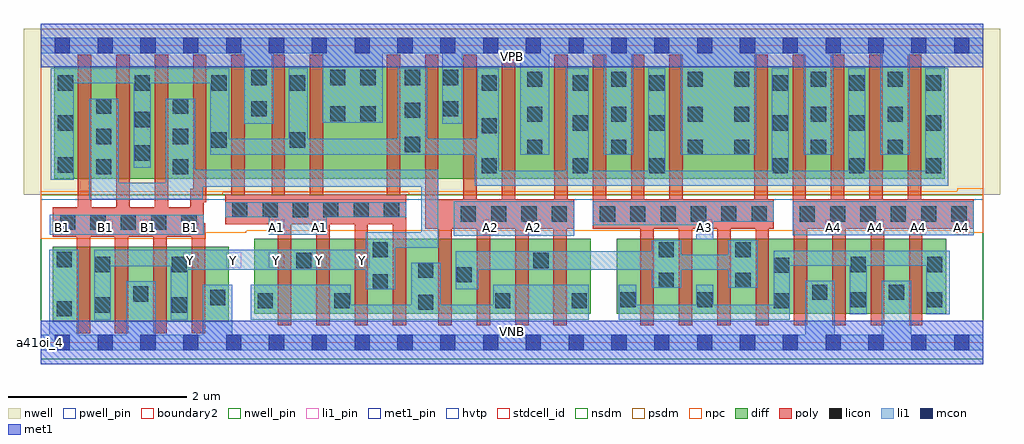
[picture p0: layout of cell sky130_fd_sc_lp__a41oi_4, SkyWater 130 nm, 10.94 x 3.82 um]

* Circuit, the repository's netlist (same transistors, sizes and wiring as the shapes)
* Copyright 2020 The SkyWater PDK Authors
*
* Licensed under the Apache License, Version 2.0 (the "License");
* you may not use this file except in compliance with the License.
* You may obtain a copy of the License at
*
*     https://www.apache.org/licenses/LICENSE-2.0
*
* Unless required by applicable law or agreed to in writing, software
* distributed under the License is distributed on an "AS IS" BASIS,
* WITHOUT WARRANTIES OR CONDITIONS OF ANY KIND, either express or implied.
* See the License for the specific language governing permissions and
* limitations under the License.
*
* SPDX-License-Identifier: Apache-2.0

.SUBCKT sky130_fd_sc_lp__a41oi_4 A1 A2 A3 A4 B1 VGND VNB VPB VPWR Y
*.PININFO A1:I A2:I A3:I A4:I B1:I VGND:I VNB:I VPB:I VPWR:I Y:O
MMPA0 pndA A1 VPWR VPB sky130_fd_pr__pfet_01v8_hvt m=4 w=1.26U l=0.15U mult=1 sa=0.265
+ sb=0.265 sd=0.28 area=0.063 perim=1.14
MMPA1 pndA A2 VPWR VPB sky130_fd_pr__pfet_01v8_hvt m=4 w=1.26U l=0.15U mult=1 sa=0.265
+ sb=0.265 sd=0.28 area=0.063 perim=1.14
MMPA2 pndA A3 VPWR VPB sky130_fd_pr__pfet_01v8_hvt m=4 w=1.26U l=0.15U mult=1 sa=0.265
+ sb=0.265 sd=0.28 area=0.063 perim=1.14
MMPA3 pndA A4 VPWR VPB sky130_fd_pr__pfet_01v8_hvt m=4 w=1.26U l=0.15U mult=1 sa=0.265
+ sb=0.265 sd=0.28 area=0.063 perim=1.14
MMPB0 Y B1 pndA VPB sky130_fd_pr__pfet_01v8_hvt m=4 w=1.26U l=0.15U mult=1 sa=0.265
+ sb=0.265 sd=0.28 area=0.063 perim=1.14
MMNA0 Y A1 sndA1 VNB sky130_fd_pr__nfet_01v8 m=4 w=0.84U l=0.15U mult=1 sa=0.265
+ sb=0.265 sd=0.28 area=0.063 perim=1.14
MMNA1 sndA1 A2 sndA2 VNB sky130_fd_pr__nfet_01v8 m=4 w=0.84U l=0.15U mult=1 sa=0.265
+ sb=0.265 sd=0.28 area=0.063 perim=1.14
MMNA2 sndA2 A3 sndA3 VNB sky130_fd_pr__nfet_01v8 m=4 w=0.84U l=0.15U mult=1 sa=0.265
+ sb=0.265 sd=0.28 area=0.063 perim=1.14
MMNA3 sndA3 A4 VGND VNB sky130_fd_pr__nfet_01v8 m=4 w=0.84U l=0.15U mult=1 sa=0.265
+ sb=0.265 sd=0.28 area=0.063 perim=1.14
MMNB0 Y B1 VGND VNB sky130_fd_pr__nfet_01v8 m=4 w=0.84U l=0.15U mult=1 sa=0.265
+ sb=0.265 sd=0.28 area=0.063 perim=1.14
.ENDS sky130_fd_sc_lp__a41oi_4

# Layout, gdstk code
import gdstk
lib = gdstk.Library(unit=1e-6, precision=1e-09)
def R(c, l, rs):  # rectangles x0, y0, x1, y1
    for r in rs: c.add(gdstk.rectangle(r[:2], r[2:], *l))
def A(c, l, x, y, w, h, nx, ny, dx, dy):  # array of equal rectangles
    R(c, l, [(x+i*dx, y+j*dy, x+i*dx+w, y+j*dy+h) for i in range(nx) for j in range(ny)])
def P(c, l, *ps):  # polygons
    for p in ps: c.add(gdstk.Polygon(p, *l))
nwell_pin = (64, 16)
nwell = (64, 20)
diff = (65, 20)
poly = (66, 20)
licon = (66, 44)
li1_pin = (67, 16)
li1 = (67, 20)
mcon = (67, 44)
met1_pin = (68, 16)
met1 = (68, 20)
hvtp = (78, 44)
stdcell_id = (81, 4)
nsdm = (93, 44)
psdm = (94, 20)
npc = (95, 20)
pwell_pin = (122, 16)
boundary2 = (236, 0)

sky130_fd_sc_lp__a41oi_4 = lib.new_cell('sky130_fd_sc_lp__a41oi_4')
R(sky130_fd_sc_lp__a41oi_4, nwell_pin, [(0,3.085,10.56,3.33)])
R(sky130_fd_sc_lp__a41oi_4, nwell, [(-0.19,1.655,10.75,3.52)])
R(sky130_fd_sc_lp__a41oi_4, diff, [(0.135,0.235,2.105,1.075), (2.39,0.325,6.16,1.165), (6.455,0.325,10.145,1.165), (0.15,1.835,10.13,3.095)])
P(sky130_fd_sc_lp__a41oi_4, poly, [(1.855,3.225),(1.705,3.225),(1.705,1.725),(1.675,1.725),(1.675,1.515),(1.425,1.515),(1.425,3.225),(1.275,3.225),(1.275,1.515),(0.995,1.515),(0.995,3.225),(0.845,3.225),(0.845,1.515),(0.565,1.515),(0.565,3.225),(0.415,3.225),(0.415,1.515),(0.135,1.515),(0.135,1.185),(0.4,1.185),(0.4,0.105),(0.55,0.105),(0.55,1.185),(0.83,1.185),(0.83,0.105),(0.98,0.105),(0.98,1.185),(1.26,1.185),(1.26,0.105),(1.41,0.105),(1.41,1.185),(1.69,1.185),(1.69,0.105),(1.84,0.105),(1.84,1.335),(1.825,1.335),(1.825,1.575),(1.855,1.575)],
  [(4.095,1.655),(4.025,1.655),(4.025,3.225),(3.875,3.225),(3.875,1.655),(3.165,1.655),(3.165,3.225),(3.015,3.225),(3.015,1.655),(2.735,1.655),(2.735,3.225),(2.585,3.225),(2.585,1.655),(2.285,1.655),(2.285,3.225),(2.135,3.225),(2.135,1.655),(2.065,1.655),(2.065,1.325),(2.655,1.325),(2.655,0.195),(2.805,0.195),(2.805,1.325),(3.085,1.325),(3.085,0.195),(3.235,0.195),(3.235,1.325),(3.515,1.325),(3.515,0.195),(3.665,0.195),(3.665,1.325),(3.945,1.325),(3.945,0.195),(4.095,0.195)],
  [(5.975,1.605),(5.905,1.605),(5.905,3.225),(5.755,3.225),(5.755,1.605),(5.315,1.605),(5.315,3.225),(5.165,3.225),(5.165,1.605),(4.885,1.605),(4.885,3.225),(4.735,3.225),(4.735,1.605),(4.455,1.605),(4.455,3.225),(4.305,3.225),(4.305,1.275),(4.455,1.275),(4.455,0.195),(4.605,0.195),(4.605,1.275),(4.885,1.275),(4.885,0.195),(5.035,0.195),(5.035,1.275),(5.315,1.275),(5.315,0.195),(5.465,0.195),(5.465,1.275),(5.745,1.275),(5.745,0.195),(5.895,0.195),(5.895,1.275),(5.975,1.275)],
  [(8.215,1.605),(8.145,1.605),(8.145,3.225),(7.995,3.225),(7.995,1.605),(7.195,1.605),(7.195,3.225),(7.045,3.225),(7.045,1.605),(6.765,1.605),(6.765,3.225),(6.615,3.225),(6.615,1.605),(6.335,1.605),(6.335,3.225),(6.185,3.225),(6.185,1.275),(6.72,1.275),(6.72,0.195),(6.87,0.195),(6.87,1.275),(7.15,1.275),(7.15,0.195),(7.3,0.195),(7.3,1.275),(7.58,1.275),(7.58,0.195),(7.73,0.195),(7.73,1.275),(8.01,1.275),(8.01,0.195),(8.16,0.195),(8.16,1.275),(8.215,1.275)],
  [(10.455,1.605),(9.865,1.605),(9.865,3.225),(9.715,3.225),(9.715,1.605),(9.435,1.605),(9.435,3.225),(9.285,3.225),(9.285,1.605),(9.005,1.605),(9.005,3.225),(8.855,3.225),(8.855,1.605),(8.575,1.605),(8.575,3.225),(8.425,3.225),(8.425,1.275),(8.44,1.275),(8.44,0.195),(8.59,0.195),(8.59,1.275),(8.87,1.275),(8.87,0.195),(9.02,0.195),(9.02,1.275),(9.3,1.275),(9.3,0.195),(9.45,0.195),(9.45,1.275),(9.73,1.275),(9.73,0.195),(9.88,0.195),(9.88,1.275),(10.455,1.275)])
A(sky130_fd_sc_lp__a41oi_4, licon, 0.215, 1.265, 0.17, 0.17, 5, 1, 0.34, 0)
A(sky130_fd_sc_lp__a41oi_4, licon, 4.705, 1.355, 0.17, 0.17, 4, 1, 0.34, 0)
A(sky130_fd_sc_lp__a41oi_4, licon, 6.265, 1.355, 0.17, 0.17, 6, 1, 0.34, 0)
A(sky130_fd_sc_lp__a41oi_4, licon, 8.505, 1.355, 0.17, 0.17, 6, 1, 0.34, 0)
A(sky130_fd_sc_lp__a41oi_4, licon, 2.145, 1.405, 0.17, 0.17, 6, 1, 0.34, 0)
A(sky130_fd_sc_lp__a41oi_4, licon, 0.62, 1.885, 0.17, 0.17, 1, 3, 0, 0.34)
A(sky130_fd_sc_lp__a41oi_4, licon, 1.48, 1.885, 0.17, 0.17, 1, 3, 0, 0.34)
A(sky130_fd_sc_lp__a41oi_4, licon, 8.2, 1.895, 0.17, 0.17, 3, 2, 0.86, 0.48)
A(sky130_fd_sc_lp__a41oi_4, licon, 7.77, 2.105, 0.17, 0.17, 3, 2, 0.86, 0.37)
A(sky130_fd_sc_lp__a41oi_4, licon, 0.19, 2.825, 0.17, 0.17, 3, 1, 0.86, 0)
A(sky130_fd_sc_lp__a41oi_4, licon, 8.2, 2.825, 0.17, 0.17, 3, 1, 0.86, 0)
A(sky130_fd_sc_lp__a41oi_4, licon, 7.77, 2.865, 0.17, 0.17, 3, 1, 0.86, 0)
R(sky130_fd_sc_lp__a41oi_4, licon, [(0.175,0.295,0.345,0.465), (0.605,0.335,0.775,0.505), (1.465,0.335,1.635,0.505), (4.23,0.365,4.4,0.535), (2.43,0.385,2.6,0.555), (3.29,0.385,3.46,0.555), (5.09,0.385,5.26,0.555), (5.95,0.385,6.12,0.555), (8.215,0.385,8.385,0.555), (6.495,0.395,6.665,0.565), (7.355,0.395,7.525,0.565), (9.075,0.395,9.245,0.565), (9.935,0.395,10.105,0.565), (1.895,0.42,2.065,0.59), (1.035,0.46,1.205,0.63), (8.645,0.48,8.815,0.65), (9.505,0.48,9.675,0.65), (3.72,0.595,3.89,0.765), (6.925,0.615,7.095,0.785), (7.785,0.615,7.955,0.785), (4.66,0.675,4.83,0.845), (4.23,0.725,4.4,0.895), (8.215,0.78,8.385,0.95), (0.605,0.79,0.775,0.96), (1.465,0.79,1.635,0.96), (9.075,0.79,9.245,0.96), (9.935,0.79,10.105,0.96), (2.86,0.835,3.03,1.005), (5.52,0.835,5.69,1.005), (0.175,0.845,0.345,1.015), (3.72,0.955,3.89,1.125), (6.925,0.955,7.095,1.125), (7.785,0.955,7.955,1.125), (4.94,1.895,5.11,2.065), (5.96,1.895,6.13,2.065), (6.82,1.895,6.99,2.065), (0.19,1.905,0.36,2.075), (1.05,2.04,1.22,2.21), (5.45,2.105,5.62,2.275), (6.39,2.105,6.56,2.275), (7.25,2.105,7.42,2.275), (4.08,2.135,4.25,2.305), (1.91,2.185,2.08,2.355), (2.79,2.185,2.96,2.355), (4.94,2.345,5.11,2.515), (0.19,2.375,0.36,2.545), (5.96,2.375,6.13,2.545), (6.82,2.375,6.99,2.545), (1.05,2.415,1.22,2.585), (5.45,2.475,5.62,2.645), (6.39,2.475,6.56,2.645), (7.25,2.475,7.42,2.645), (3.24,2.48,3.41,2.65), (3.58,2.48,3.75,2.65), (4.08,2.52,4.25,2.69), (2.36,2.535,2.53,2.705), (4.51,2.535,4.68,2.705), (2.79,2.825,2.96,2.995), (4.94,2.825,5.11,2.995), (5.96,2.825,6.13,2.995), (6.82,2.825,6.99,2.995), (5.45,2.865,5.62,3.035), (6.39,2.865,6.56,3.035), (7.25,2.865,7.42,3.035), (2.36,2.885,2.53,3.055), (3.24,2.885,3.41,3.055), (3.58,2.885,3.75,3.055), (4.08,2.885,4.25,3.055), (4.51,2.885,4.68,3.055)])
A(sky130_fd_sc_lp__a41oi_4, li1_pin, 1.595, 0.84, 0.17, 0.17, 5, 1, 0.48, 0)
A(sky130_fd_sc_lp__a41oi_4, li1_pin, 0.155, 1.21, 0.17, 0.17, 4, 1, 0.48, 0)
A(sky130_fd_sc_lp__a41oi_4, li1_pin, 8.795, 1.21, 0.17, 0.17, 4, 1, 0.48, 0)
R(sky130_fd_sc_lp__a41oi_4, li1_pin, [(2.555,1.21,2.725,1.38), (3.035,1.21,3.205,1.38), (4.955,1.21,5.125,1.38), (5.435,1.21,5.605,1.38), (7.355,1.21,7.525,1.38)])
R(sky130_fd_sc_lp__a41oi_4, li1, [(4.625,1.195,5.975,1.585), (8.425,1.2,10.455,1.585), (0.1,1.21,1.825,1.435)])
P(sky130_fd_sc_lp__a41oi_4, li1, [(10.185,1.03),(8.215,1.03),(8.215,0.425),(7.535,0.425),(7.535,0.645),(7.345,0.645),(7.345,0.425),(6.675,0.425),(6.675,0.645),(6.475,0.645),(6.475,0.255),(8.395,0.255),(8.395,0.86),(9.065,0.86),(9.065,0.315),(9.255,0.315),(9.255,0.86),(9.925,0.86),(9.925,0.315),(10.185,0.315)],
  [(4.095,1.575),(2.065,1.575),(2.065,1.405),(2.555,1.405),(2.555,1.21),(3.205,1.21),(3.205,1.405),(4.095,1.405)],
  [(4.455,1.935),(1.73,1.935),(1.73,2.735),(1.4,2.735),(1.4,1.79),(0.87,1.79),(0.87,2.735),(0.54,2.735),(0.54,1.605),(1.815,1.605),(1.815,1.745),(4.265,1.745),(4.265,1.235),(3.64,1.235),(3.64,1.04),(0.595,1.04),(0.595,0.255),(0.785,0.255),(0.785,0.855),(1.455,0.855),(1.455,0.255),(1.645,0.255),(1.645,0.815),(3.64,0.815),(3.64,0.595),(3.97,0.595),(3.97,1.065),(4.455,1.065)],
  [(6.14,0.645),(5.07,0.645),(5.07,0.425),(4.48,0.425),(4.48,0.895),(4.15,0.895),(4.15,0.425),(3.47,0.425),(3.47,0.645),(2.35,0.645),(2.35,0.255),(6.14,0.255)],
  [(8.035,1.145),(7.705,1.145),(7.705,0.985),(7.175,0.985),(7.175,1.145),(6.845,1.145),(6.845,1.025),(4.65,1.025),(4.65,0.595),(4.9,0.595),(4.9,0.815),(6.845,0.815),(6.845,0.615),(7.175,0.615),(7.175,0.815),(7.705,0.815),(7.705,0.615),(8.035,0.615)],
  [(8.215,1.585),(6.185,1.585),(6.185,1.315),(7.345,1.315),(7.345,1.155),(7.535,1.155),(7.535,1.355),(8.215,1.355)],
  [(10.17,3.075),(9.91,3.075),(9.91,1.925),(9.24,1.925),(9.24,3.075),(9.05,3.075),(9.05,1.925),(8.38,1.925),(8.38,3.075),(8.19,3.075),(8.19,1.925),(7,1.925),(7,3.075),(6.81,3.075),(6.81,1.925),(6.14,1.925),(6.14,3.075),(5.88,3.075),(5.88,1.925),(5.13,1.925),(5.13,3.075),(4.89,3.075),(4.89,2.285),(4.33,2.285),(4.33,3.075),(4,3.075),(4,2.285),(2.99,2.285),(2.99,3.075),(2.78,3.075),(2.78,2.285),(2.11,2.285),(2.11,3.075),(0.11,3.075),(0.11,1.825),(0.37,1.825),(0.37,2.905),(1.04,2.905),(1.04,1.96),(1.23,1.96),(1.23,2.905),(1.9,2.905),(1.9,2.105),(4.86,2.105),(4.86,1.755),(10.17,1.755)],
  [(10.56,0.085),(9.755,0.085),(9.755,0.69),(9.425,0.69),(9.425,0.085),(8.895,0.085),(8.895,0.69),(8.565,0.69),(8.565,0.085),(2.145,0.085),(2.145,0.645),(1.815,0.645),(1.815,0.085),(1.285,0.085),(1.285,0.685),(0.955,0.685),(0.955,0.085),(0.425,0.085),(0.425,1.04),(0.095,1.04),(0.095,0.085),(0,0.085),(0,-0.085),(10.56,-0.085)],
  [(10.56,3.415),(0,3.415),(0,3.245),(2.28,3.245),(2.28,2.455),(2.61,2.455),(2.61,3.245),(3.16,3.245),(3.16,2.465),(3.83,2.465),(3.83,3.245),(4.5,3.245),(4.5,2.455),(4.72,2.455),(4.72,3.245),(5.37,3.245),(5.37,2.105),(5.7,2.105),(5.7,3.245),(6.31,3.245),(6.31,2.105),(6.64,2.105),(6.64,3.245),(7.17,3.245),(7.17,2.105),(8.02,2.105),(8.02,3.245),(8.55,3.245),(8.55,2.105),(8.88,2.105),(8.88,3.245),(9.41,3.245),(9.41,2.105),(9.74,2.105),(9.74,3.245),(10.56,3.245)])
A(sky130_fd_sc_lp__a41oi_4, mcon, 0.155, -0.085, 0.17, 0.17, 22, 2, 0.48, 3.33)
R(sky130_fd_sc_lp__a41oi_4, met1_pin, [(0,0,10.56,0.245), (0,3.085,10.56,3.33)])
R(sky130_fd_sc_lp__a41oi_4, met1, [(0,-0.245,10.56,0.245), (0,3.085,10.56,3.575)])
R(sky130_fd_sc_lp__a41oi_4, hvtp, [(0,1.6,10.56,3.33)])
R(sky130_fd_sc_lp__a41oi_4, stdcell_id, [(0,0,10.56,3.33)])
R(sky130_fd_sc_lp__a41oi_4, nsdm, [(0,-0.19,10.56,1.655)])
P(sky130_fd_sc_lp__a41oi_4, psdm, [(10.56,3.52),(0,3.52),(0,1.655),(2.035,1.655),(2.035,1.685),(4.125,1.685),(4.125,1.655),(10.56,1.655)])
P(sky130_fd_sc_lp__a41oi_4, npc, [(10.56,1.73),(10.27,1.73),(10.27,1.695),(0,1.695),(0,1.165),(1.845,1.165),(1.845,1.23),(2.3,1.23),(2.3,1.255),(10.235,1.255),(10.235,1.23),(10.56,1.23)])
R(sky130_fd_sc_lp__a41oi_4, pwell_pin, [(0,0,10.56,0.245)])
R(sky130_fd_sc_lp__a41oi_4, boundary2, [(0,0,10.56,3.33)])
sky130_fd_sc_lp__a41oi_4.add(gdstk.Label('VNB', (5.28,0.123), layer=64, texttype=59))
sky130_fd_sc_lp__a41oi_4.add(gdstk.Label('VPB', (5.28,3.208), layer=64, texttype=5))
sky130_fd_sc_lp__a41oi_4.add(gdstk.Label('a41oi_4', (0,0), layer=83, texttype=44))
sky130_fd_sc_lp__a41oi_4.add(gdstk.Label('VPWR', (5.28,3.208), layer=68, texttype=5))
sky130_fd_sc_lp__a41oi_4.add(gdstk.Label('VGND', (5.28,0.123), layer=68, texttype=5))
sky130_fd_sc_lp__a41oi_4.add(gdstk.Label('Y', (1.68,0.925), layer=67, texttype=5))
sky130_fd_sc_lp__a41oi_4.add(gdstk.Label('Y', (2.16,0.925), layer=67, texttype=5))
sky130_fd_sc_lp__a41oi_4.add(gdstk.Label('Y', (2.64,0.925), layer=67, texttype=5))
sky130_fd_sc_lp__a41oi_4.add(gdstk.Label('Y', (3.12,0.925), layer=67, texttype=5))
sky130_fd_sc_lp__a41oi_4.add(gdstk.Label('Y', (3.6,0.925), layer=67, texttype=5))
sky130_fd_sc_lp__a41oi_4.add(gdstk.Label('A1', (2.64,1.295), layer=67, texttype=5))
sky130_fd_sc_lp__a41oi_4.add(gdstk.Label('A1', (3.12,1.295), layer=67, texttype=5))
sky130_fd_sc_lp__a41oi_4.add(gdstk.Label('A2', (5.04,1.295), layer=67, texttype=5))
sky130_fd_sc_lp__a41oi_4.add(gdstk.Label('A2', (5.52,1.295), layer=67, texttype=5))
sky130_fd_sc_lp__a41oi_4.add(gdstk.Label('A3', (7.44,1.295), layer=67, texttype=5))
sky130_fd_sc_lp__a41oi_4.add(gdstk.Label('A4', (8.88,1.295), layer=67, texttype=5))
sky130_fd_sc_lp__a41oi_4.add(gdstk.Label('A4', (9.36,1.295), layer=67, texttype=5))
sky130_fd_sc_lp__a41oi_4.add(gdstk.Label('A4', (9.84,1.295), layer=67, texttype=5))
sky130_fd_sc_lp__a41oi_4.add(gdstk.Label('A4', (10.32,1.295), layer=67, texttype=5))
sky130_fd_sc_lp__a41oi_4.add(gdstk.Label('B1', (0.24,1.295), layer=67, texttype=5))
sky130_fd_sc_lp__a41oi_4.add(gdstk.Label('B1', (0.72,1.295), layer=67, texttype=5))
sky130_fd_sc_lp__a41oi_4.add(gdstk.Label('B1', (1.2,1.295), layer=67, texttype=5))
sky130_fd_sc_lp__a41oi_4.add(gdstk.Label('B1', (1.68,1.295), layer=67, texttype=5))

lib.write_gds('sky130_fd_sc_lp__a41oi_4.gds')
